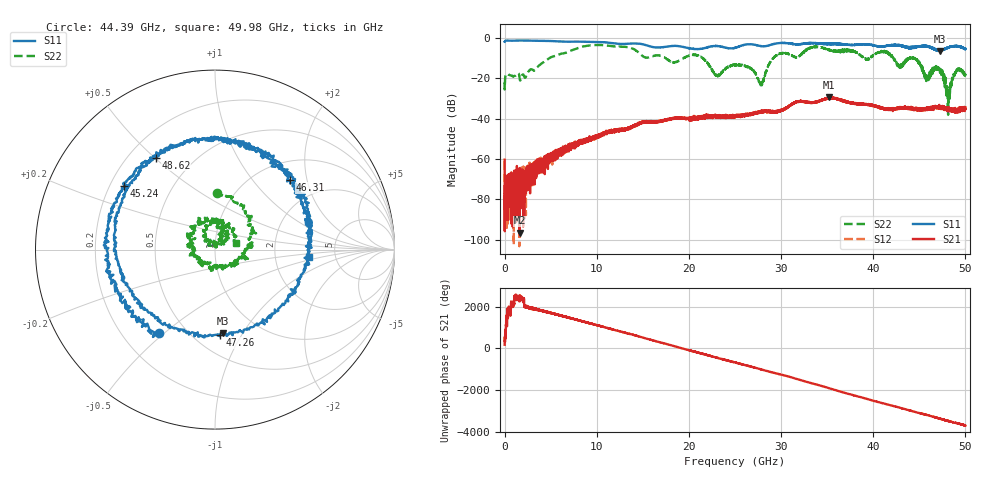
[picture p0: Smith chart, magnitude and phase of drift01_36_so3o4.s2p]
!Created with skrf (http://scikit-rf.org).
# Hz S RI R 50.0
!freq ReS11 ImS11 ReS21 ImS21 ReS12 ImS12 ReS22 ImS22
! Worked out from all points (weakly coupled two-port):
!   10001 points, 300 kHz to 50 GHz, reference 50 ohm
!   highest |S21| = -29.54 dB at 35.19 GHz (marker M1); lowest = -96.5 dB at 1.62 GHz (marker M2)
!   lowest |S11| = -6.6 dB at 47.25 GHz (marker M3), VSWR 2.75, Z = 34.6 - j41.1 ohm
!   |S11| at or under -10 dB: nowhere
!   |S22| runs from -38.2 to -3.6 dB; largest |S21 - S12| = 0.0041
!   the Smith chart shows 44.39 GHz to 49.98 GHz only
!   S11 on the Smith chart (normalised r, x): 44.39 GHz: 0.35, -0.48; 45.24 GHz: 0.26, +0.30; 46.31 GHz: 1.37, +1.58; 47.26 GHz: 0.66, -0.81; 48.62 GHz: 0.31, +0.50; 49.98 GHz: 3.15, -0.36
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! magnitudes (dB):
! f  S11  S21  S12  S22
! 300 kHz  -2.0  -60.4  -61.1  -22.1
! 255.3 MHz  -1.4  -74.0  -78.0  -18.0
! 1.62 GHz  -1.4  -96.5  -71.1  -19.8
! 8.335 GHz  -2.0  -51.6  -51.2  -4.6
! 16.67 GHz  -4.8  -41.3  -41.5  -8.7
! 20.96 GHz  -5.6  -39.5  -40.1  -8.8
! 23.07 GHz  -4.1  -39.1  -38.8  -18.7
! 25 GHz  -5.0  -38.3  -38.4  -13.7
! 27.84 GHz  -4.1  -36.2  -36.3  -22.9
! 29.47 GHz  -2.9  -36.4  -36.7  -8.8
! 33.34 GHz  -2.6  -32.2  -32.1  -4.7
! 35.19 GHz  -2.9  -29.5  -29.9  -6.0
! 41.67 GHz  -3.9  -35.4  -35.2  -7.6
! 44.39 GHz  -5.1  -35.6  -35.3  -10.0
! 45.24 GHz  -4.2  -35.5  -35.6  -14.4
! 46.31 GHz  -4.9  -35.0  -34.6  -16.2
! 47.25 GHz  -6.6  -34.5  -34.6  -17.3
! 47.26 GHz  -6.4  -34.4  -34.8  -17.0
! 48.12 GHz  -4.9  -35.2  -35.2  -33.4
! 48.62 GHz  -4.3  -36.4  -35.8  -20.9
! 49.98 GHz  -5.6  -35.1  -35.2  -18.4
! 50 GHz  -5.5  -34.4  -35.0  -18.5
